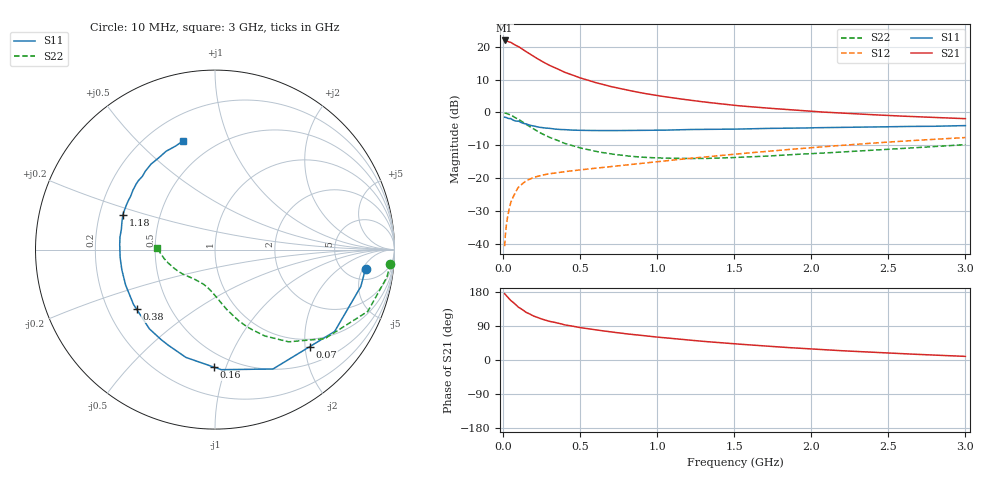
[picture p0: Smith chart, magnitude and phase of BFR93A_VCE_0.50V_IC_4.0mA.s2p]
! Infineon Technologies  Discrete & RF Semiconductors
! BFR93A
! VCE = 0.50 V,  IC =  4.0 mA
! Common Emitter S-Parameters:  Nov 2015
# GHz  S  MA  R  50
!  f  S11  S21  S12  S22
! GHz  MAG  ANG  MAG  ANG  MAG  ANG  MAG  ANG
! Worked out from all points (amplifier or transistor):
!   180 points, 10 MHz to 3 GHz, reference 50 ohm
!   highest |S21| = 21.9 dB at 10 MHz (marker M1)
!   |S21| within 3 dB of that: start of sweep to 136.1 MHz
!   unconditionally stable (mu >= 1): 722.3 MHz to end of sweep
!   at 160 MHz: K = 0.31, MSG = 19.4 dB, |S12| = -20.6 dB
!   at 1.22 GHz: K = 1.18, MAG = 6.2 dB, |S12| = -14.0 dB
!   at 3 GHz: K = 1.07, MAG = 1.3 dB, |S12| = -7.6 dB
!   S11 on the Smith chart (normalised r, x): 10 MHz: 7.66, -5.69; 70 MHz: 0.83, -2.10; 160 MHz: 0.40, -0.91; 380 MHz: 0.32, -0.30; 1.18 GHz: 0.30, +0.16; 3 GHz: 0.34, +0.69
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0.01  0.8454 -7.2  12.47 175.1  0.0092 86.1  0.9796 -4.6
0.02  0.8381 -14.2  12.37 170.3  0.018 81.8  0.9702 -9.1
0.05  0.8077 -34.4  11.68 157.0  0.0426 71.5  0.9184 -22.0
0.07  0.7559 -45.6  10.92 150.5  0.0544 64.2  0.8571 -28.2
0.1  0.7395 -64.1  10.08 139.2  0.073 57.9  0.7874 -39.1
0.15  0.6699 -87.0  8.425 125.6  0.0912 48.8  0.6573 -51.4
0.16  0.6553 -90.4  8.14 123.9  0.0934 47.6  0.6359 -52.9
0.2  0.6222 -105.1  7.085 115.7  0.1027 43.4  0.5557 -60.0
0.24  0.593 -116.0  6.234 109.7  0.1089 40.6  0.4919 -65.1
0.26  0.5844 -120.9  5.869 107.0  0.1117 39.5  0.4649 -67.5
0.3  0.5732 -129.6  5.23 102.1  0.1163 38.1  0.4192 -71.5
0.38  0.5485 -142.8  4.306 95.0  0.1237 37.0  0.3537 -77.3
0.4  0.5471 -146.2  4.088 92.7  0.1255 36.8  0.338 -79.1
0.52  0.5337 -160.2  3.256 84.4  0.135 36.8  0.2817 -85.8
0.7  0.5304 -175.1  2.478 73.9  0.1501 38.4  0.2336 -94.8
0.88  0.533 173.7  2.022 65.7  0.166 40.3  0.2103 -103.3
1.02  0.5351 166.8  1.777 59.8  0.1799 41.3  0.2024 -109.3
1.18  0.5477 159.6  1.574 53.7  0.1963 42.2  0.199 -116.8
1.52  0.5578 146.9  1.27 42.2  0.2334 42.8  0.2068 -131.0
2.02  0.5846 131.5  1.033 28.7  0.2931 41.2  0.2371 -149.1
2.52  0.6066 118.4  0.895 18.0  0.3563 36.9  0.2765 -166.0
3  0.6306 106.6  0.804 9.5  0.4147 31.2  0.324 178.0
